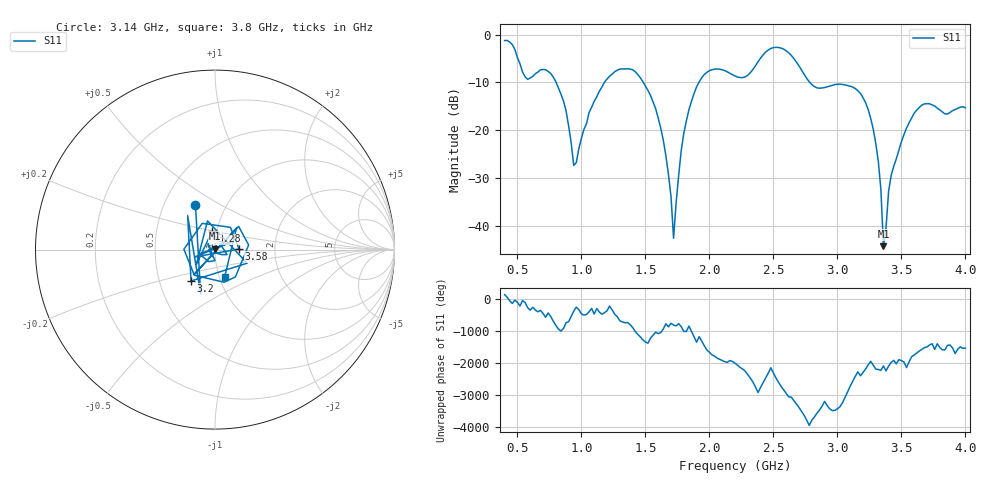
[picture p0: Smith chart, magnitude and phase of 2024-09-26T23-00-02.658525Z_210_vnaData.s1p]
!Created with skrf (http://scikit-rf.org).
# Hz S RI R 50.0
!freq ReS11 ImS11
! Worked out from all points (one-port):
!   181 points, 400 MHz to 4 GHz, reference 50 ohm
!   lowest |S11| = -44.2 dB at 3.36 GHz (marker M1), VSWR 1.01, Z = 50.1 + j0.599 ohm
!   |S11| at or under -10 dB: 802.7 MHz to 1.179 GHz (376.2 MHz wide, 38 % of centre); 1.484 GHz to 1.918 GHz (434 MHz wide, 25.5 % of centre); 2.785 GHz to end of sweep
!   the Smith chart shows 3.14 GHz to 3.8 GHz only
!   S11 on the Smith chart (normalised r, x): 3.14 GHz: 0.72, +0.39; 3.2 GHz: 0.72, -0.27; 3.28 GHz: 0.95, +0.19; 3.58 GHz: 1.31, +0.01; 3.8 GHz: 1.06, -0.34
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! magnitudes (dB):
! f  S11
! 400 MHz  -1.2
! 560 MHz  -8.8
! 720 MHz  -7.3
! 860 MHz  -13.9
! 940 MHz  -27.3
! 1.1 GHz  -13.9
! 1.3 GHz  -7.2
! 1.58 GHz  -15.5
! 1.66 GHz  -25.3
! 1.72 GHz  -42.6
! 1.76 GHz  -29.4
! 1.82 GHz  -18.0
! 1.92 GHz  -9.9
! 2.2 GHz  -8.6
! 2.5 GHz  -2.7
! 2.66 GHz  -5.0
! 2.84 GHz  -11.1
! 3.1 GHz  -10.8
! 3.14 GHz  -11.3
! 3.2 GHz  -13.2
! 3.28 GHz  -19.8
! 3.34 GHz  -32.5
! 3.36 GHz  -44.2
! 3.42 GHz  -29.4
! 3.56 GHz  -18.4
! 3.58 GHz  -17.4
! 3.8 GHz  -15.7
! 4 GHz  -15.3
